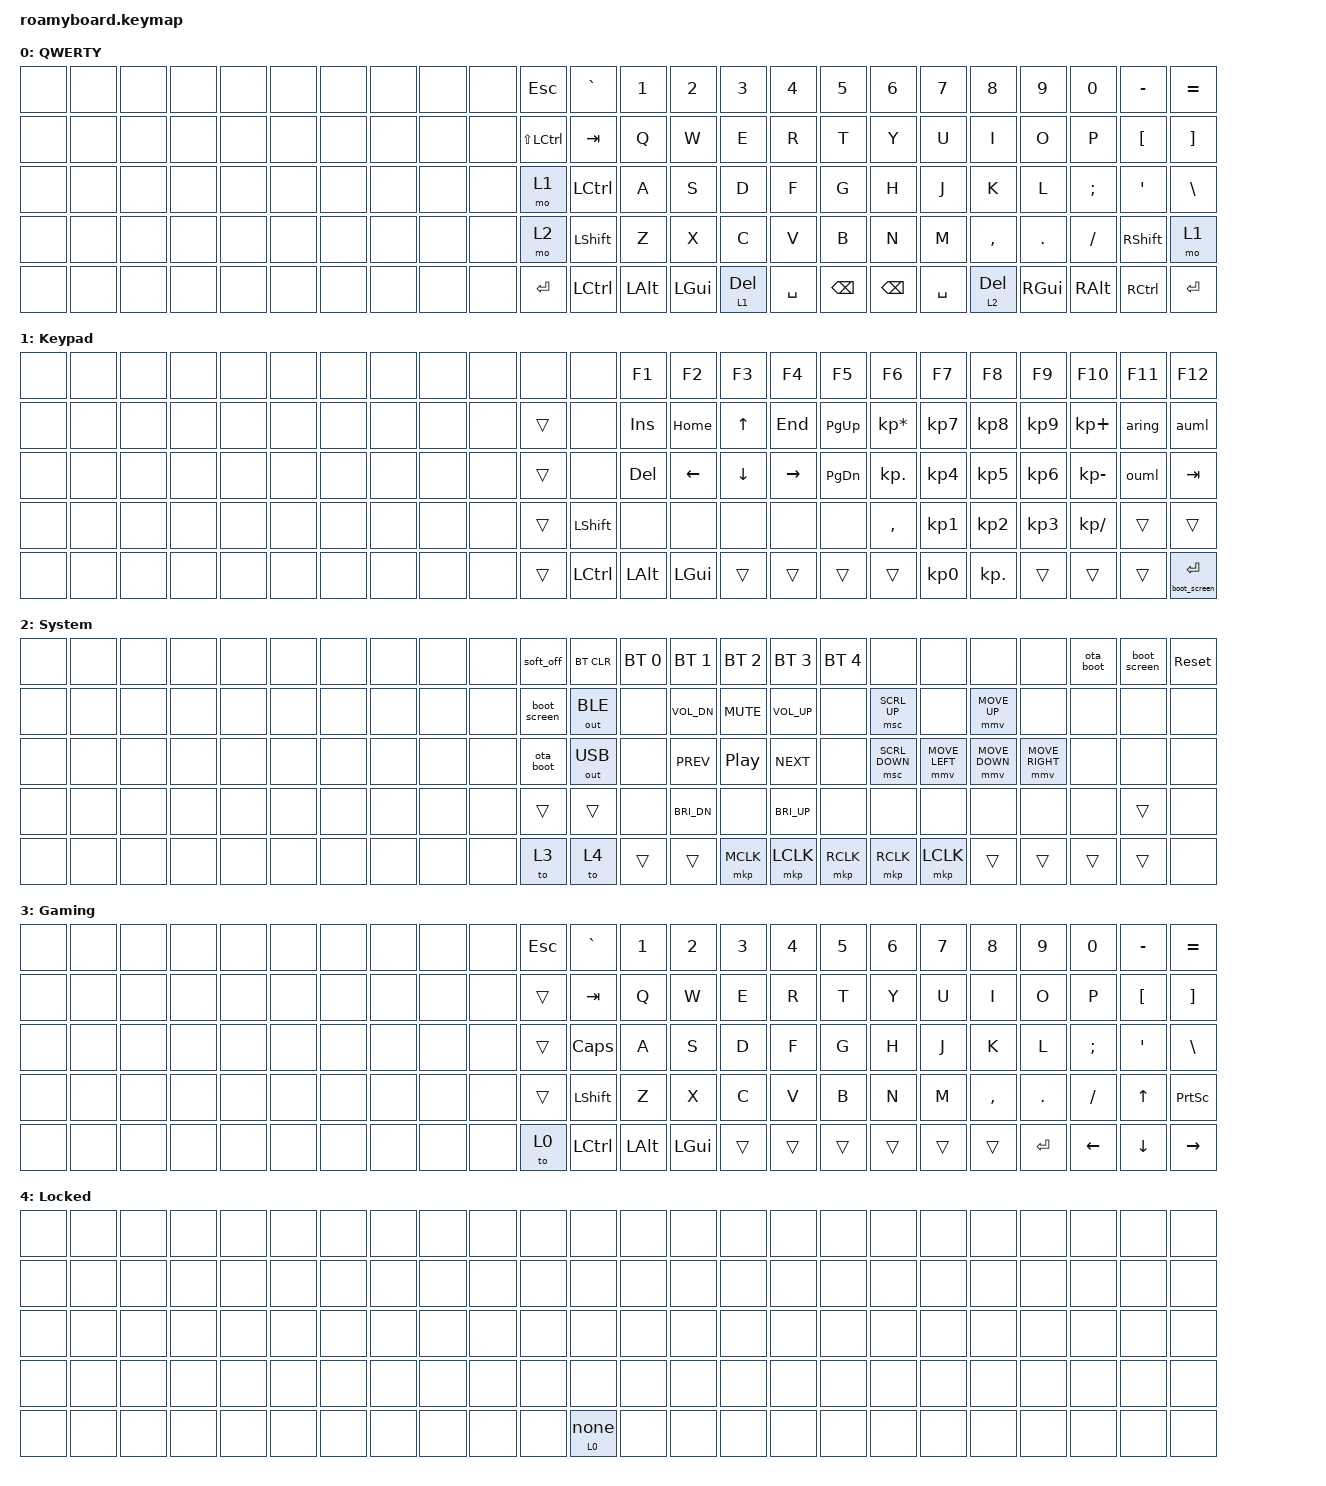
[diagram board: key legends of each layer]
/*
 * Keymap for the unibody roamyboard: the split layout on one chain; zmk/Layout.md shows
 * the layers and explains them.
 *
 * Positions are 5 rows of 24 keymap columns: row * 24 + column, one line per row, with a
 * gap between the left block (keymap columns 10 to 16) and the right block (17 to 23).
 * Keymap column 23 is the key module nearest the MCU module; keys of key modules that
 * are not attached never fire.
 *
 * SPDX-License-Identifier: MIT
 */

#include <behaviors.dtsi>
#include <behaviors/boot_screen.dtsi>
#include <dt-bindings/zmk/bt.h>
#include <dt-bindings/zmk/keys.h>
#include <dt-bindings/zmk/outputs.h>
#include <dt-bindings/zmk/pointing.h>

/ {
    behaviors {
        // Tap for Return; hold past the tapping term for the bootloader.
        ret_boot: ret_boot {
            compatible = "zmk,behavior-hold-tap";
            display-name = "Return or bootloader";
            #binding-cells = <2>;
            flavor = "tap-preferred";
            tapping-term-ms = <1500>;
            bindings = <&boot_screen>, <&kp>;
        };
        // Tap for forward delete, hold for a layer; a hold past the tapping term never deletes.
        thumb_lt: thumb_lt {
            compatible = "zmk,behavior-hold-tap";
            display-name = "Delete or layer";
            #binding-cells = <2>;
            flavor = "hold-preferred";
            tapping-term-ms = <200>;
            bindings = <&mo>, <&kp>;
        };
        // Hold for 1 s to leave the Locked layer; a tap does nothing.
        unlock: unlock {
            compatible = "zmk,behavior-hold-tap";
            display-name = "Unlock";
            #binding-cells = <2>;
            flavor = "tap-preferred";
            tapping-term-ms = <1000>;
            bindings = <&to>, <&none>;
        };
        // Swedish letters typed as macOS Option dead keys on ABC - Extended; zmk/Layout.md explains.
        aring_l: aring_l {
            compatible = "zmk,behavior-macro";
            display-name = "Swedish a-ring";
            #binding-cells = <0>;
            wait-ms = <0>;
            tap-ms = <10>;
            bindings = <&macro_tap &kp LA(K) &kp A>;
        };
        aring_u: aring_u {
            compatible = "zmk,behavior-macro";
            display-name = "Swedish capital A-ring";
            #binding-cells = <0>;
            wait-ms = <0>;
            tap-ms = <10>;
            bindings = <&macro_tap &kp LA(K) &kp LS(A)>;
        };
        auml_l: auml_l {
            compatible = "zmk,behavior-macro";
            display-name = "Swedish a-umlaut";
            #binding-cells = <0>;
            wait-ms = <0>;
            tap-ms = <10>;
            bindings = <&macro_tap &kp LA(U) &kp A>;
        };
        auml_u: auml_u {
            compatible = "zmk,behavior-macro";
            display-name = "Swedish capital A-umlaut";
            #binding-cells = <0>;
            wait-ms = <0>;
            tap-ms = <10>;
            bindings = <&macro_tap &kp LA(U) &kp LS(A)>;
        };
        ouml_l: ouml_l {
            compatible = "zmk,behavior-macro";
            display-name = "Swedish o-umlaut";
            #binding-cells = <0>;
            wait-ms = <0>;
            tap-ms = <10>;
            bindings = <&macro_tap &kp LA(U) &kp O>;
        };
        ouml_u: ouml_u {
            compatible = "zmk,behavior-macro";
            display-name = "Swedish capital O-umlaut";
            #binding-cells = <0>;
            wait-ms = <0>;
            tap-ms = <10>;
            bindings = <&macro_tap &kp LA(U) &kp LS(O)>;
        };
        aring: aring {
            compatible = "zmk,behavior-mod-morph";
            display-name = "Swedish a-ring";
            #binding-cells = <0>;
            bindings = <&aring_l>, <&aring_u>;
            mods = <(MOD_LSFT|MOD_RSFT)>;
        };
        auml: auml {
            compatible = "zmk,behavior-mod-morph";
            display-name = "Swedish a-umlaut";
            #binding-cells = <0>;
            bindings = <&auml_l>, <&auml_u>;
            mods = <(MOD_LSFT|MOD_RSFT)>;
        };
        ouml: ouml {
            compatible = "zmk,behavior-mod-morph";
            display-name = "Swedish o-umlaut";
            #binding-cells = <0>;
            bindings = <&ouml_l>, <&ouml_u>;
            mods = <(MOD_LSFT|MOD_RSFT)>;
        };
    };

    keymap {
        compatible = "zmk,keymap";

        qwerty {
            display-name = "QWERTY";
            bindings = <
            &none  &none  &none  &none  &none  &none  &none  &none  &none  &none  &kp ESC        &kp GRAVE  &kp N1    &kp N2    &kp N3           &kp N4     &kp N5        &kp N6    &kp N7     &kp N8           &kp N9    &kp N0    &kp MINUS  &kp EQUAL
            &none  &none  &none  &none  &none  &none  &none  &none  &none  &none  &kp LS(LCTRL)  &kp TAB    &kp Q     &kp W     &kp E            &kp R      &kp T         &kp Y     &kp U      &kp I            &kp O     &kp P     &kp LBKT   &kp RBKT
            &none  &none  &none  &none  &none  &none  &none  &none  &none  &none  &mo 1          &kp LCTRL  &kp A     &kp S     &kp D            &kp F      &kp G         &kp H     &kp J      &kp K            &kp L     &kp SEMI  &kp SQT    &kp BSLH
            &none  &none  &none  &none  &none  &none  &none  &none  &none  &none  &mo 2          &kp LSHFT  &kp Z     &kp X     &kp C            &kp V      &kp B         &kp N     &kp M      &kp COMMA        &kp DOT   &kp FSLH  &kp RSHFT  &mo 1
            &none  &none  &none  &none  &none  &none  &none  &none  &none  &none  &kp RET        &kp LCTRL  &kp LALT  &kp LGUI  &thumb_lt 1 DEL  &kp SPACE  &kp BSPC      &kp BSPC  &kp SPACE  &thumb_lt 2 DEL  &kp RGUI  &kp RALT  &kp RCTRL  &kp RET
            >;
        };

        keypad_layer: keypad {
            display-name = "Keypad";
            bindings = <
            &none  &none  &none  &none  &none  &none  &none  &none  &none  &none  &none   &none      &kp F1    &kp F2    &kp F3    &kp F4     &kp F5         &kp F6           &kp F7     &kp F8      &kp F9     &kp F10        &kp F11  &kp F12
            &none  &none  &none  &none  &none  &none  &none  &none  &none  &none  &trans  &none      &kp INS   &kp HOME  &kp UP    &kp END    &kp PG_UP      &kp KP_MULTIPLY  &kp KP_N7  &kp KP_N8   &kp KP_N9  &kp KP_PLUS    &aring   &auml
            &none  &none  &none  &none  &none  &none  &none  &none  &none  &none  &trans  &none      &kp DEL   &kp LEFT  &kp DOWN  &kp RIGHT  &kp PG_DN      &kp KP_DOT       &kp KP_N4  &kp KP_N5   &kp KP_N6  &kp KP_MINUS   &ouml    &kp TAB
            &none  &none  &none  &none  &none  &none  &none  &none  &none  &none  &trans  &kp LSHFT  &none     &none     &none     &none      &none          &kp COMMA        &kp KP_N1  &kp KP_N2   &kp KP_N3  &kp KP_DIVIDE  &trans   &trans
            &none  &none  &none  &none  &none  &none  &none  &none  &none  &none  &trans  &kp LCTRL  &kp LALT  &kp LGUI  &trans    &trans     &trans         &trans           &kp KP_N0  &kp KP_DOT  &trans     &trans         &trans   &ret_boot 0 RET
            >;
        };

        system_layer: system {
            display-name = "System";
            bindings = <
            &none  &none  &none  &none  &none  &none  &none  &none  &none  &none  &soft_off     &bt BT_CLR    &bt BT_SEL 0  &bt BT_SEL 1  &bt BT_SEL 2  &bt BT_SEL 3  &bt BT_SEL 4      &none           &none           &none           &none            &ota_boot  &boot_screen  &sys_reset
            &none  &none  &none  &none  &none  &none  &none  &none  &none  &none  &boot_screen  &out OUT_BLE  &none         &kp C_VOL_DN  &kp C_MUTE    &kp C_VOL_UP  &none             &msc SCRL_UP    &none           &mmv MOVE_UP    &none            &none      &none         &none
            &none  &none  &none  &none  &none  &none  &none  &none  &none  &none  &ota_boot     &out OUT_USB  &none         &kp C_PREV    &kp C_PP      &kp C_NEXT    &none             &msc SCRL_DOWN  &mmv MOVE_LEFT  &mmv MOVE_DOWN  &mmv MOVE_RIGHT  &none      &none         &none
            &none  &none  &none  &none  &none  &none  &none  &none  &none  &none  &trans        &trans        &none         &kp C_BRI_DN  &none         &kp C_BRI_UP  &none             &none           &none           &none           &none            &none      &trans        &none
            &none  &none  &none  &none  &none  &none  &none  &none  &none  &none  &to 3         &to 4         &trans        &trans        &mkp MCLK     &mkp LCLK     &mkp RCLK         &mkp RCLK       &mkp LCLK       &trans          &trans           &trans     &trans        &none
            >;
        };

        gaming_layer: gaming {
            display-name = "Gaming";
            bindings = <
            &none  &none  &none  &none  &none  &none  &none  &none  &none  &none  &kp ESC  &kp GRAVE  &kp N1    &kp N2    &kp N3  &kp N4  &kp N5      &kp N6  &kp N7  &kp N8     &kp N9   &kp N0    &kp MINUS  &kp EQUAL
            &none  &none  &none  &none  &none  &none  &none  &none  &none  &none  &trans   &kp TAB    &kp Q     &kp W     &kp E   &kp R   &kp T       &kp Y   &kp U   &kp I      &kp O    &kp P     &kp LBKT   &kp RBKT
            &none  &none  &none  &none  &none  &none  &none  &none  &none  &none  &trans   &kp CAPS   &kp A     &kp S     &kp D   &kp F   &kp G       &kp H   &kp J   &kp K      &kp L    &kp SEMI  &kp SQT    &kp BSLH
            &none  &none  &none  &none  &none  &none  &none  &none  &none  &none  &trans   &kp LSHFT  &kp Z     &kp X     &kp C   &kp V   &kp B       &kp N   &kp M   &kp COMMA  &kp DOT  &kp FSLH  &kp UP     &kp PSCRN
            &none  &none  &none  &none  &none  &none  &none  &none  &none  &none  &to 0    &kp LCTRL  &kp LALT  &kp LGUI  &trans  &trans  &trans      &trans  &trans  &trans     &kp RET  &kp LEFT  &kp DOWN   &kp RIGHT
            >;
        };

        // Every key does nothing except the left half's row 5 Control key, which returns to QWERTY when held for 1 s.
        locked_layer: locked {
            display-name = "Locked";
            bindings = <
            &none  &none  &none  &none  &none  &none  &none  &none  &none  &none  &none  &none        &none  &none  &none  &none  &none      &none  &none  &none  &none  &none  &none  &none
            &none  &none  &none  &none  &none  &none  &none  &none  &none  &none  &none  &none        &none  &none  &none  &none  &none      &none  &none  &none  &none  &none  &none  &none
            &none  &none  &none  &none  &none  &none  &none  &none  &none  &none  &none  &none        &none  &none  &none  &none  &none      &none  &none  &none  &none  &none  &none  &none
            &none  &none  &none  &none  &none  &none  &none  &none  &none  &none  &none  &none        &none  &none  &none  &none  &none      &none  &none  &none  &none  &none  &none  &none
            &none  &none  &none  &none  &none  &none  &none  &none  &none  &none  &none  &unlock 0 0  &none  &none  &none  &none  &none      &none  &none  &none  &none  &none  &none  &none
            >;
        };
    };
};
